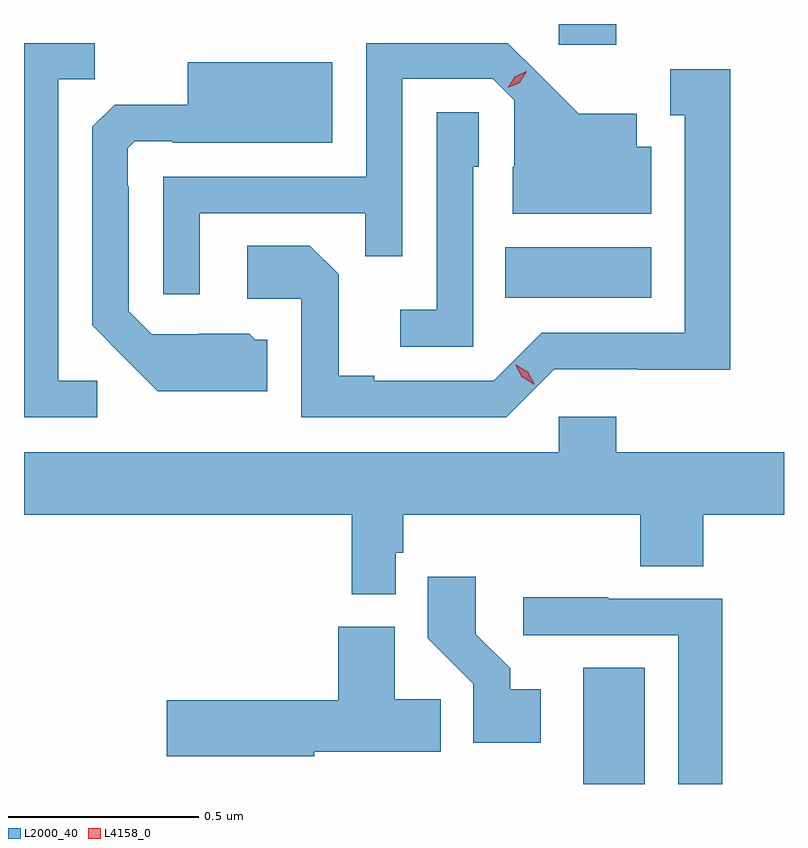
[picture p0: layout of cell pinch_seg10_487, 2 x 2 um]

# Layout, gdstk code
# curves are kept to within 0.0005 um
import gdstk
lib = gdstk.Library(unit=1e-6, precision=1e-09)
def R(c, l, rs):  # rectangles x0, y0, x1, y1
    for r in rs: c.add(gdstk.rectangle(r[:2], r[2:], *l))
def P(c, l, *ps):  # polygons
    for p in ps: c.add(gdstk.Polygon(p, *l))
L2000_40 = (2000, 40)
L4158_0 = (4158, 0)

pinch_seg10_487 = lib.new_cell('pinch_seg10_487')
R(pinch_seg10_487, L2000_40, [(336.263,1298.275,336.424,1298.581), (336.058,1299.554,336.442,1299.688), (336.198,1300.221,336.35,1300.275)])
P(pinch_seg10_487, L2000_40, [(335.253,1299.777),(335.689,1299.777),(335.689,1299.664),(335.787,1299.664),(335.787,1300.131),(336.024,1300.131),(336.081,1300.074),(336.081,1299.9),(336.077,1299.9),(336.077,1299.776),(336.442,1299.776),(336.442,1299.952),(336.403,1299.952),(336.403,1300.039),(336.251,1300.039),(336.064,1300.224),(335.691,1300.224),(335.691,1299.873),(335.157,1299.873),(335.157,1299.564),(335.253,1299.564)],
  [(334.984,1299.336),(334.881,1299.336),(334.881,1300.129),(334.977,1300.129),(334.977,1300.224),(334.791,1300.224),(334.791,1299.24),(334.984,1299.24)],
  [(335.431,1299.444),(335.4,1299.444),(335.384,1299.46),(335.25,1299.46),(335.25,1299.459),(335.127,1299.459),(335.067,1299.519),(335.067,1299.848),(335.064,1299.848),(335.064,1299.948),(335.082,1299.966),(335.182,1299.966),(335.182,1299.962),(335.602,1299.962),(335.602,1300.174),(335.222,1300.174),(335.222,1300.063),(335.03,1300.063),(334.971,1300.004),(334.971,1299.482),(335.143,1299.308),(335.431,1299.308)],
  [(336.186,1299.366),(336.408,1299.366),(336.408,1299.365),(336.649,1299.365),(336.649,1300.156),(336.491,1300.156),(336.491,1300.035),(336.53,1300.035),(336.53,1299.462),(336.153,1299.462),(336.027,1299.336),(335.713,1299.336),(335.713,1299.349),(335.619,1299.349),(335.619,1299.616),(335.543,1299.692),(335.379,1299.692),(335.379,1299.552),(335.52,1299.552),(335.52,1299.24),(336.06,1299.24)],
  [(335.973,1299.9),(335.988,1299.9),(335.988,1300.043),(335.877,1300.043),(335.877,1299.523),(335.781,1299.523),(335.781,1299.426),(335.973,1299.426)],
  [(335.769,1298.883),(335.789,1298.883),(335.789,1298.984),(336.413,1298.984),(336.413,1298.848),(336.578,1298.848),(336.578,1298.984),(336.791,1298.984),(336.791,1299.148),(336.35,1299.148),(336.35,1299.241),(336.198,1299.241),(336.198,1299.148),(334.791,1299.148),(334.791,1298.984),(335.653,1298.984),(335.653,1298.774),(335.769,1298.774)],
  [(336.151,1298.524),(336.07,1298.524),(336.07,1298.579),(335.98,1298.669),(335.98,1298.821),(335.854,1298.821),(335.854,1298.658),(335.973,1298.539),(335.973,1298.384),(336.151,1298.384)],
  [(336.629,1298.763),(336.329,1298.763),(336.329,1298.766),(336.105,1298.766),(336.105,1298.667),(336.513,1298.667),(336.513,1298.275),(336.629,1298.275)],
  [(335.555,1298.36),(335.888,1298.36),(335.888,1298.498),(335.767,1298.498),(335.767,1298.689),(335.618,1298.689),(335.618,1298.495),(335.166,1298.495),(335.166,1298.348),(335.555,1298.348)])
P(pinch_seg10_487, L4158_0, [(336.133,1299.327),(336.101,1299.347),(336.084,1299.379),(336.084,1299.38),(336.084,1299.38),(336.116,1299.36),(336.134,1299.328),(336.134,1299.327)],
  [(336.064,1300.107),(336.064,1300.107),(336.082,1300.136),(336.113,1300.151),(336.114,1300.151),(336.114,1300.151),(336.096,1300.121),(336.064,1300.107)])

lib.write_gds('pinch_seg10_487.gds')
